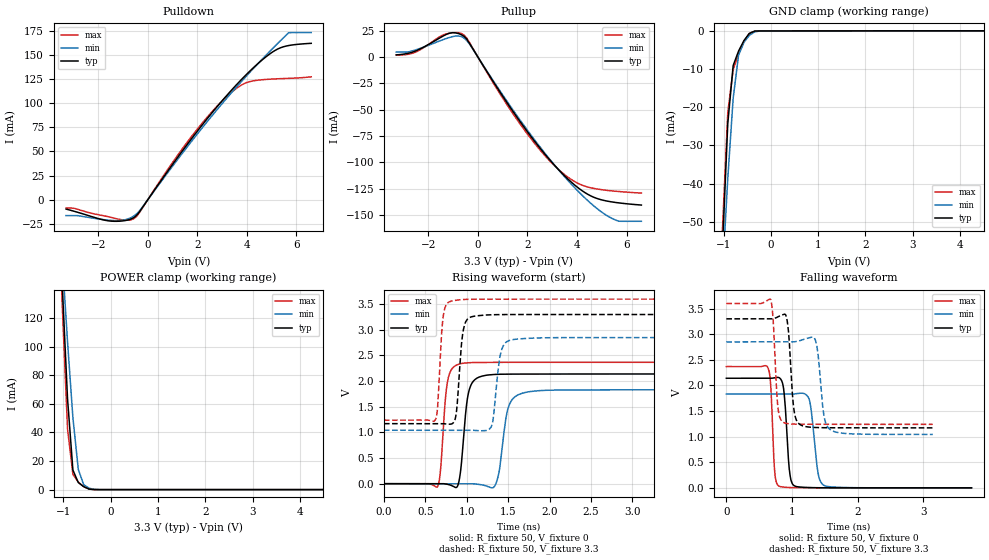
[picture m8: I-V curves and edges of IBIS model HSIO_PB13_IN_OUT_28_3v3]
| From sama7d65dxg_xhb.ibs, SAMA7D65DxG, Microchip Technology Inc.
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|   Model   HSIO_PB13_IN_OUT_33
[Model] HSIO_PB13_IN_OUT_28_3v3
Model_type I/O
Enable   Active-High
Vinl  =  0.99
Vinh  =  2.31
Vmeas =  1.650
| Capacitance   typ   min   max
C_comp   1.068541701113554e-12   1.016571393773621e-12   1.139369895251705e-12
| Variables   typ   min   max
[GND Clamp Reference]   0   0   0
[POWER Clamp Reference]   3.3   2.85   3.6
[Pulldown Reference]   0   0   0
[Pullup Reference]   3.3   2.85   3.6
[Temperature Range]   25   125   -40
[Voltage Range]   3.3   2.85   3.6
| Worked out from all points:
|   slope of the pulldown table from 0 to 0.495 V, typ, clamps not added: 27.1 ohm
|   slope of the pullup table from 0 to 0.495 V, typ, clamps not added: 26.5 ohm
|   GND clamp passes 1 mA (typ) near -0.47 V on its own axis
|   POWER clamp passes 1 mA (typ) near -0.50 V on its own axis
|   falling waveform, R_fixture 50, V_fixture 0: 20-80 % time 64.3ps typ, 89.9ps min, 46.5ps max; typ from 2.14 V to 0.001 V
|   falling waveform, R_fixture 50, V_fixture 3.3: 20-80 % time 65.3ps typ, 81.1ps min, 55.6ps max; typ from 3.3 V to 1.17 V
|   rising waveform, R_fixture 50, V_fixture 0: 20-80 % time 76.1ps typ, 94.9ps min, 64.8ps max; typ from 0 V to 2.14 V
|   rising waveform, R_fixture 50, V_fixture 3.3: 20-80 % time 59.8ps typ, 73.5ps min, 49.8ps max; typ from 1.17 V to 3.3 V
[GND Clamp]
| Voltage   I(typ)   I(min)   I(max)
-3.3V     -929.1mA   -542.5mA   -1.152A
-1.024V   -57.05mA   -64.05mA   -52.48mA
-910.3mV  -24.26mA   -38.73mA   -21.41mA
-796.6mV  -9.1mA     -17.67mA   -10.13mA
-682.8mV  -5.32mA    -6.383mA   -6.018mA
-569mV    -2.568mA   -3.041mA   -2.759mA
-455.2mV  -677.7uA   -1.206mA   -728.3uA
-341.4mV  -70.25uA   -271.9uA   -72.06uA
-113.8mV  -34.12uA   -25.48uA   -45.7uA
6.6V      0A         0A         0A
[POWER Clamp]
| Voltage   I(typ)   I(min)   I(max)
-3.3V     2.134A     1.237A     2.671A
-1.138V   234.7mA    225.9mA    258.9mA
-1.024V   144.5mA    163.2mA    130.8mA
-910.3mV  63.72mA    103.5mA    42.5mA
-796.6mV  13.63mA    50.37mA    10.74mA
-682.8mV  4.957mA    14.13mA    5.284mA
-569mV    2.071mA    3.44mA     2.128mA
-455.2mV  359.6uA    975.1uA    378.6uA
-227.6mV  2.45uA     12.53uA    2.818uA
6.6V      0A         0A         0A
[Pullup]
| Voltage   I(typ)   I(min)   I(max)
-3.3V     2.062mA    4.717mA    2.052mA
-2.503V   5.943mA    6.921mA    4.841mA
-1.138V   22.79mA    18.73mA    22.71mA
-569mV    19.85mA    18.23mA    21.09mA
-341.4mV  13.12mA    12.44mA    13.92mA
1.707V    -61.47mA   -60.02mA   -63.72mA
2.503V    -86.45mA   -85.33mA   -88.17mA
3.3V      -108.1mA   -108.4mA   -107.8mA
4.324V    -128.9mA   -134mA     -122.7mA
5.234V    -137mA     -151.1mA   -126.8mA
5.69V     -138.6mA   -156.1mA   -127.8mA
6.6V      -140.7mA   -156.1mA   -129.3mA
[Pulldown]
| Voltage   I(typ)   I(min)   I(max)
-3.3V     -9.668mA   -16.39mA   -8.645mA
-1.593V   -21.82mA   -21.13mA   -17.6mA
-1.024V   -21.95mA   -21.22mA   -20.85mA
-569mV    -18.53mA   -16.93mA   -19.67mA
-227.6mV  -8.437mA   -7.929mA   -9.01mA
1.934V    68.78mA    65.94mA    71.02mA
2.731V    94.28mA    91.22mA    95.04mA
3.528V    117.6mA    115.1mA    114.2mA
4.097V    132.5mA    131.3mA    122.2mA
4.893V    150.3mA    152.7mA    124.7mA
5.69V     159.6mA    172.9mA    125.7mA
6.6V      161.9mA    173mA      127.2mA
[Ramp]
dV/dt_r   1.28406/76.105p  1.09873/94.9218p  1.4209/64.8096p
dV/dt_f   1.27755/65.3743p  1.08447/81.1131p  1.41645/55.6293p
R_load = 50
[Falling Waveform]
R_fixture = 50
V_fixture = 0
V_fixture_min = 0
V_fixture_max = 0
| Time   V(typ)   V(min)   V(max)
0s        2.14V      1.831V     2.368V
634ps     2.139V     1.831V     2.344V
676.5ps   2.14V      1.831V     1.995V
737ps     2.151V     1.831V     306.8mV
802ps     2.152V     1.83V      33.7mV
966.8ps   274.7mV    1.83V      6.717mV
1.043ns   35.22mV    1.835V     3.438mV
1.261ns   6.497mV    1.729V     848.9uV
1.477ns   1.68mV     55.41mV    745.7uV
3.734ns   685.7uV    170.9uV    741uV
[Falling Waveform]
R_fixture = 50
V_fixture = 3.3
V_fixture_min = 2.85
V_fixture_max = 3.6
| Time   V(typ)   V(min)   V(max)
0s        3.3V       2.85V      3.6V
677.8ps   3.298V     2.849V     3.669V
783.3ps   3.338V     2.849V     1.606V
860.5ps   3.381V     2.849V     1.286V
929.6ps   3.24V      2.849V     1.255V
1.024ns   1.579V     2.85V      1.245V
1.106ns   1.251V     2.869V     1.242V
1.354ns   1.178V     2.891V     1.241V
1.58ns    1.173V     1.139V     1.24V
3.143ns   1.171V     1.043V     1.24V
[Rising Waveform]
R_fixture = 50
V_fixture = 0
V_fixture_min = 0
V_fixture_max = 0
| Time   V(typ)   V(min)   V(max)
0s        24.51nV    215.9nV    92.12nV
645.9ps   899.8uV    -390.2uV   -60.66mV
769.2ps   -12.74mV   -464.7uV   2.005V
905.1ps   39.04mV    -546.9uV   2.331V
1.015ns   1.727V     -613.4uV   2.358V
1.144ns   2.076V     -12.36mV   2.363V
1.355ns   2.132V     10.57mV    2.366V
1.499ns   2.137V     1.472V     2.367V
1.675ns   2.138V     1.766V     2.367V
4.353ns   2.14V      1.831V     2.368V
[Rising Waveform]
R_fixture = 50
V_fixture = 3.3
V_fixture_min = 2.85
V_fixture_max = 3.6
| Time   V(typ)   V(min)   V(max)
0s        1.171V     1.043V     1.239V
622.5ps   1.172V     1.043V     1.25V
712.1ps   1.171V     1.043V     3.217V
803.1ps   1.161V     1.043V     3.556V
959.2ps   3.001V     1.043V     3.592V
1.042ns   3.246V     1.043V     3.597V
1.302ns   3.295V     1.132V     3.599V
1.409ns   3.298V     2.538V     3.599V
1.503ns   3.299V     2.787V     3.599V
4.011ns   3.299V     2.85V      3.599V
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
